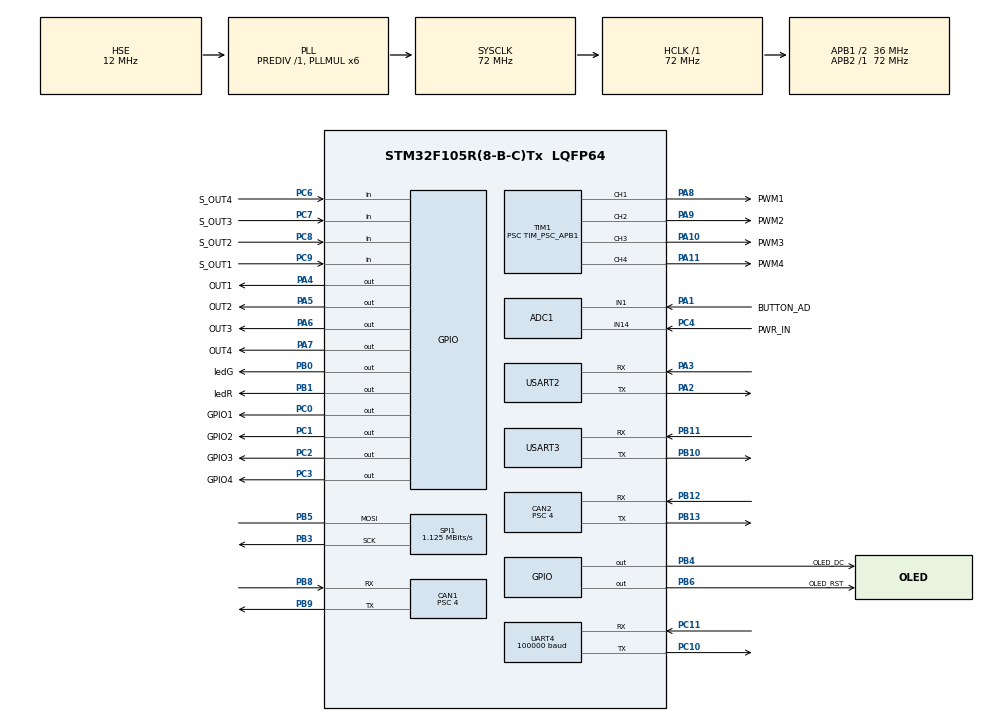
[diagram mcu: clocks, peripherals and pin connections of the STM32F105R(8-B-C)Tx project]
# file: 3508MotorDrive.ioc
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ADC1.Channel-12\#ChannelRegularConversion=ADC_CHANNEL_14
ADC1.ContinuousConvMode=ENABLE
ADC1.EnableAnalogWatchDog=false
ADC1.InjNumberOfConversion=0
ADC1.NbrOfConversion=1
ADC1.NbrOfConversionFlag=1
ADC1.Rank-12\#ChannelRegularConversion=1
ADC1.SamplingTime-12\#ChannelRegularConversion=ADC_SAMPLETIME_1CYCLE_5
ADC1.master=1
CAN1.ABOM=ENABLE
CAN1.BS1=CAN_BS1_3TQ
CAN1.BS2=CAN_BS2_5TQ
CAN1.CalculateTimeBit=999.99
CAN1.CalculateTimeQuantum=111.11111111111111
CAN1.Prescaler=4
CAN2.ABOM=ENABLE
CAN2.BS1=CAN_BS1_3TQ
CAN2.BS2=CAN_BS2_5TQ
CAN2.CalculateTimeBit=999.99
CAN2.CalculateTimeQuantum=111.11111111111111
CAN2.Prescaler=4
Dma.ADC1.5.Direction=DMA_PERIPH_TO_MEMORY
Dma.ADC1.5.Instance=DMA1_Channel1
Dma.ADC1.5.MemDataAlignment=DMA_MDATAALIGN_HALFWORD
Dma.ADC1.5.MemInc=DMA_MINC_ENABLE
Dma.ADC1.5.Mode=DMA_NORMAL
Dma.ADC1.5.PeriphDataAlignment=DMA_PDATAALIGN_HALFWORD
Dma.ADC1.5.PeriphInc=DMA_PINC_DISABLE
Dma.ADC1.5.Priority=DMA_PRIORITY_LOW
Dma.Request0=UART4_RX
Dma.Request1=USART2_RX
Dma.Request2=USART2_TX
Dma.Request3=USART3_RX
Dma.Request4=USART3_TX
Dma.Request5=ADC1
Dma.UART4_RX.0.Direction=DMA_PERIPH_TO_MEMORY
Dma.UART4_RX.0.Instance=DMA2_Channel3
Dma.UART4_RX.0.MemDataAlignment=DMA_MDATAALIGN_BYTE
Dma.UART4_RX.0.MemInc=DMA_MINC_ENABLE
Dma.UART4_RX.0.Mode=DMA_NORMAL
Dma.UART4_RX.0.PeriphDataAlignment=DMA_PDATAALIGN_BYTE
Dma.UART4_RX.0.PeriphInc=DMA_PINC_DISABLE
Dma.UART4_RX.0.Priority=DMA_PRIORITY_LOW
Dma.USART2_RX.1.Direction=DMA_PERIPH_TO_MEMORY
Dma.USART2_RX.1.Instance=DMA1_Channel6
Dma.USART2_RX.1.MemDataAlignment=DMA_MDATAALIGN_BYTE
Dma.USART2_RX.1.MemInc=DMA_MINC_ENABLE
Dma.USART2_RX.1.Mode=DMA_NORMAL
Dma.USART2_RX.1.PeriphDataAlignment=DMA_PDATAALIGN_BYTE
Dma.USART2_RX.1.PeriphInc=DMA_PINC_DISABLE
Dma.USART2_RX.1.Priority=DMA_PRIORITY_LOW
Dma.USART2_TX.2.Direction=DMA_MEMORY_TO_PERIPH
Dma.USART2_TX.2.Instance=DMA1_Channel7
Dma.USART2_TX.2.MemDataAlignment=DMA_MDATAALIGN_BYTE
Dma.USART2_TX.2.MemInc=DMA_MINC_ENABLE
Dma.USART2_TX.2.Mode=DMA_NORMAL
Dma.USART2_TX.2.PeriphDataAlignment=DMA_PDATAALIGN_BYTE
Dma.USART2_TX.2.PeriphInc=DMA_PINC_DISABLE
Dma.USART2_TX.2.Priority=DMA_PRIORITY_LOW
Dma.USART3_RX.3.Direction=DMA_PERIPH_TO_MEMORY
Dma.USART3_RX.3.Instance=DMA1_Channel3
Dma.USART3_RX.3.MemDataAlignment=DMA_MDATAALIGN_BYTE
Dma.USART3_RX.3.MemInc=DMA_MINC_ENABLE
Dma.USART3_RX.3.Mode=DMA_NORMAL
Dma.USART3_RX.3.PeriphDataAlignment=DMA_PDATAALIGN_BYTE
Dma.USART3_RX.3.PeriphInc=DMA_PINC_DISABLE
Dma.USART3_RX.3.Priority=DMA_PRIORITY_LOW
Dma.USART3_TX.4.Direction=DMA_MEMORY_TO_PERIPH
Dma.USART3_TX.4.Instance=DMA1_Channel2
Dma.USART3_TX.4.MemDataAlignment=DMA_MDATAALIGN_BYTE
Dma.USART3_TX.4.MemInc=DMA_MINC_ENABLE
Dma.USART3_TX.4.Mode=DMA_NORMAL
Dma.USART3_TX.4.PeriphDataAlignment=DMA_PDATAALIGN_BYTE
Dma.USART3_TX.4.PeriphInc=DMA_PINC_DISABLE
Dma.USART3_TX.4.Priority=DMA_PRIORITY_LOW
Mcu.Family=STM32F1
Mcu.Name=STM32F105R(8-B-C)Tx
Mcu.Package=LQFP64
Mcu.UserConstants=PWM_FREQUENCE,50;PWM_RESOLUTION,10000;APB1_TIMER_CLOCKS,36000000;PWM_DEFAULT_DUTY,5000;APB2_TIMER_CLOCKS,72000000;TIM_PSC_APB1,((APB1_TIMER_CLOCKS/PWM_FREQUENCE)/PWM_RESOLUTION -1);TIM_PSC_APB2,((APB2_TIMER_CLOCKS/PWM_FREQUENCE)/PWM_RESOLUTION -1)
NVIC.ADC1_2_IRQn=true\:0\:0\:false\:false\:true\:true\:true
NVIC.CAN1_RX0_IRQn=true\:0\:0\:false\:false\:true\:true\:true
NVIC.CAN1_TX_IRQn=true\:0\:0\:false\:false\:true\:true\:true
NVIC.CAN2_RX0_IRQn=true\:0\:0\:false\:false\:true\:true\:true
NVIC.CAN2_TX_IRQn=true\:0\:0\:false\:false\:true\:true\:true
NVIC.DMA1_Channel1_IRQn=true\:0\:0\:false\:false\:true\:false\:true
NVIC.DMA1_Channel2_IRQn=true\:0\:0\:false\:false\:true\:false\:true
NVIC.DMA1_Channel3_IRQn=true\:0\:0\:false\:false\:true\:false\:true
NVIC.DMA1_Channel6_IRQn=true\:0\:0\:false\:false\:true\:false\:true
NVIC.DMA1_Channel7_IRQn=true\:0\:0\:false\:false\:true\:false\:true
NVIC.DMA2_Channel3_IRQn=true\:0\:0\:false\:false\:true\:false\:true
NVIC.PriorityGroup=NVIC_PRIORITYGROUP_4
NVIC.UART4_IRQn=true\:0\:0\:false\:false\:true\:true\:true
NVIC.USART2_IRQn=true\:0\:0\:false\:false\:true\:true\:true
NVIC.USART3_IRQn=true\:0\:0\:false\:false\:true\:true\:true
PA1.GPIO_Label=BUTTON_AD
PA1.Signal=ADCx_IN1
PA10.GPIO_Label=PWM3
PA10.GPIO_Speed=GPIO_SPEED_FREQ_HIGH
PA10.Signal=S_TIM1_CH3
PA11.GPIO_Label=PWM4
PA11.GPIO_Speed=GPIO_SPEED_FREQ_HIGH
PA11.Signal=S_TIM1_CH4
PA13.Mode=Serial_Wire
PA13.Signal=SYS_JTMS-SWDIO
PA14.Mode=Serial_Wire
PA14.Signal=SYS_JTCK-SWCLK
PA2.Mode=Asynchronous
PA2.Signal=USART2_TX
PA3.Mode=Asynchronous
PA3.Signal=USART2_RX
PA4.GPIO_Label=OUT1
PA4.GPIO_Speed=GPIO_SPEED_FREQ_LOW
PA4.Signal=GPIO_Output
PA5.GPIO_Label=OUT2
PA5.GPIO_Speed=GPIO_SPEED_FREQ_LOW
PA5.Signal=GPIO_Output
PA6.GPIO_Label=OUT3
PA6.GPIO_Speed=GPIO_SPEED_FREQ_LOW
PA6.Signal=GPIO_Output
PA7.GPIO_Label=OUT4
PA7.GPIO_Speed=GPIO_SPEED_FREQ_LOW
PA7.Signal=GPIO_Output
PA8.GPIO_Label=PWM1
PA8.GPIO_Speed=GPIO_SPEED_FREQ_HIGH
PA8.Signal=S_TIM1_CH1
PA9.GPIO_Label=PWM2
PA9.GPIO_Speed=GPIO_SPEED_FREQ_HIGH
PA9.Signal=S_TIM1_CH2
PB0.GPIO_Label=ledG
PB0.GPIO_Speed=GPIO_SPEED_FREQ_LOW
PB0.Signal=GPIO_Output
PB1.GPIO_Label=ledR
PB1.GPIO_Speed=GPIO_SPEED_FREQ_LOW
PB1.Signal=GPIO_Output
PB10.Mode=Asynchronous
PB10.Signal=USART3_TX
PB11.Mode=Asynchronous
PB11.Signal=USART3_RX
PB12.Mode=Slave
PB12.Signal=CAN2_RX
PB13.Mode=Slave
PB13.Signal=CAN2_TX
PB3.Mode=Simplex_Bidirectional_Master
PB3.Signal=SPI1_SCK
PB4.GPIO_Label=OLED_DC
PB4.Signal=GPIO_Output
PB5.Mode=Simplex_Bidirectional_Master
PB5.Signal=SPI1_MOSI
PB6.GPIO_Label=OLED_RST
PB6.GPIO_Speed=GPIO_SPEED_FREQ_HIGH
PB6.Signal=GPIO_Output
PB8.Mode=Master
PB8.Signal=CAN1_RX
PB9.Mode=Master
PB9.Signal=CAN1_TX
PC0.GPIO_Label=GPIO1
PC0.GPIO_Speed=GPIO_SPEED_FREQ_HIGH
PC0.Signal=GPIO_Output
PC1.GPIO_Label=GPIO2
PC1.GPIO_Speed=GPIO_SPEED_FREQ_HIGH
PC1.Signal=GPIO_Output
PC10.Mode=Asynchronous
PC10.Signal=UART4_TX
PC11.Mode=Asynchronous
PC11.Signal=UART4_RX
PC2.GPIO_Label=GPIO3
PC2.GPIO_Speed=GPIO_SPEED_FREQ_HIGH
PC2.Signal=GPIO_Output
PC3.GPIO_Label=GPIO4
PC3.GPIO_Speed=GPIO_SPEED_FREQ_HIGH
PC3.Signal=GPIO_Output
PC4.GPIO_Label=PWR_IN
PC4.Signal=ADCx_IN14
PC6.GPIO_Label=S_OUT4
PC6.Signal=GPIO_Input
PC7.GPIO_Label=S_OUT3
PC7.Signal=GPIO_Input
PC8.GPIO_Label=S_OUT2
PC8.Signal=GPIO_Input
PC9.GPIO_Label=S_OUT1
PC9.Signal=GPIO_Input
PD0-OSC_IN.Mode=HSE-External-Oscillator
PD0-OSC_IN.Signal=RCC_OSC_IN
PD1-OSC_OUT.Mode=HSE-External-Oscillator
PD1-OSC_OUT.Signal=RCC_OSC_OUT
ProjectManager.HeapSize=0x200
ProjectManager.StackSize=0x400
ProjectManager.TargetToolchain=MDK-ARM V5
RCC.ADCPresc=RCC_ADCPCLK2_DIV6
RCC.AHBFreq_Value=72000000
RCC.APB1CLKDivider=RCC_HCLK_DIV2
RCC.APB1Freq_Value=36000000
RCC.APB1TimFreq_Value=72000000
RCC.APB2Freq_Value=72000000
RCC.APB2TimFreq_Value=72000000
RCC.HCLKFreq_Value=72000000
RCC.HSE_VALUE=12000000
RCC.PLLMUL=RCC_PLL_MUL6
RCC.PLLSourceVirtual=RCC_PLLSOURCE_HSE
RCC.SYSCLKFreq_VALUE=72000000
RCC.SYSCLKSource=RCC_SYSCLKSOURCE_PLLCLK
RCC.USBFreq_Value=48000000
SH.ADCx_IN1.0=ADC1_IN1,IN1
SH.ADCx_IN14.0=ADC1_IN14,IN14
SH.S_TIM1_CH1.0=TIM1_CH1,PWM Generation1 CH1
SH.S_TIM1_CH2.0=TIM1_CH2,PWM Generation2 CH2
SH.S_TIM1_CH3.0=TIM1_CH3,PWM Generation3 CH3
SH.S_TIM1_CH4.0=TIM1_CH4,PWM Generation4 CH4
SPI1.BaudRatePrescaler=SPI_BAUDRATEPRESCALER_64
SPI1.CalculateBaudRate=1.125 MBits/s
SPI1.Direction=SPI_DIRECTION_1LINE
SPI1.Mode=SPI_MODE_MASTER
SPI1.VirtualType=VM_MASTER
TIM1.Channel-PWM\ Generation1\ CH1=TIM_CHANNEL_1
TIM1.Channel-PWM\ Generation2\ CH2=TIM_CHANNEL_2
TIM1.Channel-PWM\ Generation3\ CH3=TIM_CHANNEL_3
TIM1.Channel-PWM\ Generation4\ CH4=TIM_CHANNEL_4
TIM1.Period=PWM_RESOLUTION-1
TIM1.Prescaler=TIM_PSC_APB1
TIM1.Pulse-PWM\ Generation1\ CH1=PWM_DEFAULT_DUTY
TIM1.Pulse-PWM\ Generation2\ CH2=PWM_DEFAULT_DUTY
TIM1.Pulse-PWM\ Generation3\ CH3=PWM_DEFAULT_DUTY
TIM1.Pulse-PWM\ Generation4\ CH4=PWM_DEFAULT_DUTY
UART4.BaudRate=100000
UART4.Parity=PARITY_EVEN
UART4.VirtualMode=Asynchronous
USART2.VirtualMode=VM_ASYNC
USART3.VirtualMode=VM_ASYNC
board=custom

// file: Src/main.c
/* USER CODE BEGIN Header */
/**
  ******************************************************************************
  * @file           : main.c
  * @brief          : Main program body
  * @作者           : 谢锋 (XieFeng)
  * @联系方式       : xiefeng3321@163.com
  * @Date           : 2019.06
  ******************************************************************************
  ** This notice applies to any and all portions of this file
  * that are not between comment pairs USER CODE BEGIN and
  * USER CODE END. Other portions of this file, whether
  * inserted by the user or by software development tools
  * are owned by their respective copyright owners.
  *
  * COPYRIGHT(c) 2019 STMicroelectronics
  *
  * Redistribution and use in source and binary forms, with or without modification,
  * are permitted provided that the following conditions are met:
  *   1. Redistributions of source code must retain the above copyright notice,
  *      this list of conditions and the following disclaimer.
  *   2. Redistributions in binary form must reproduce the above copyright notice,
  *      this list of conditions and the following disclaimer in the documentation
  *      and/or other materials provided with the distribution.
  *   3. Neither the name of STMicroelectronics nor the names of its contributors
  *      may be used to endorse or promote products derived from this software
  *      without specific prior written permission.
  ******************************************************************************
  * @机器人大赛     : 全国大学生机器人大赛-ROBOTAC-2019
  * @控制芯片       : STM32F105R8T6
  * @开发板         : RM开发板B型
  * @车型           : 4WD
  * @遥控接收机通信 : SBUS/DBUS
  * @M3508电机驱动  : CAN2
  * @M2006电机驱动  : CAN1
  * @舵机驱动控制   : 定时器PWM输出PPM信号
  * @程序介绍       : 主程序在main的while大循环里
  * @库版本         : STM32Cube_FW_F1_V1.4.0
  */
/* USER CODE END Header */

#include "main.h"
#include "adc.h"
#include "can.h"
#include "dma.h"
#include "spi.h"
#include "tim.h"
#include "usart.h"
#include "gpio.h"

/* USER CODE BEGIN Includes */
#include "pid.h"
#include "bsp_can.h"
#include "mytype.h"
#include "bsp_uart.h"
#include "oled.h"

/* USER CODE END Includes */

/* USER CODE BEGIN PTD */
#define ABS(x)	( (x>0) ? (x) : (-x) )      //求绝对值

/* USER CODE END PTD */

/* USER CODE BEGIN PV */
extern rc_info_t rc;                        //遥控器各通道得值
char buf[200];                              //串口发送字符串缓存区
extern uint16_t Sbus_PWM[16];	            //拟合后的PWM脉宽

int16_t set_3508_speed[8] = {0};            //8个电机速度闭环的速度数组
int64_t set_3508_pos = 0;                   //2006转盘电机位置闭环的位置值
int64_t pos0 = 0, pos = 0;                  //2006转盘电机初始化位置量

int16_t key_flage = 0;
int16_t current_Motor[8] = {0};             //8个电机发送电流值数组
uint32_t power_val = 0;                     //电源电压检测 ADC
int16_t num1 = 0, num2 = 0, num3 =0;        //计数

int64_t qiut_num = 0;                       //球筒计数
int16_t t1 = 0, t2 = 0, t3 = 0;             //时间计数

/* USER CODE END PV */

void SystemClock_Config(void);

int main(void)
{

  /* MCU Configuration--------------------------------------------------------*/

  /* Reset of all peripherals, Initializes the Flash interface and the Systick. */
  HAL_Init();

  /* Configure the system clock */
  SystemClock_Config();

  /* Initialize all configured peripherals */
  MX_GPIO_Init();
  MX_DMA_Init();
  MX_ADC1_Init();
  MX_CAN1_Init();
  MX_CAN2_Init();
  MX_TIM1_Init();
  MX_UART4_Init();
  MX_USART2_UART_Init();
  MX_USART3_UART_Init();
  MX_SPI1_Init();
  /* USER CODE BEGIN 2 */
    dbus_uart_init();                                           // DBUS 初始化
    oled_init();                                                //oled 初始化

    oled_Robotac_LOGO();                                        //Robotac LOGO 显示
    HAL_Delay(500);
    oled_JXJD_LOGO();                                           //JXJD LOGO 显示
    HAL_Delay(500);
    oled_JXJD_WZ();                                             //江西机电 文字显示

    HAL_GPIO_WritePin(ledR_GPIO_Port,ledR_Pin,GPIO_PIN_SET);    //GPIO输出高电平，LED熄灭
    HAL_GPIO_WritePin(ledG_GPIO_Port,ledG_Pin,GPIO_PIN_SET);    //GPIO输出高电平，LED熄灭

    HAL_TIM_PWM_Start(&htim1, TIM_CHANNEL_1);                   //打开TIM1_CH1的PWM
	HAL_TIM_PWM_Start(&htim1, TIM_CHANNEL_2);
	HAL_TIM_PWM_Start(&htim1, TIM_CHANNEL_3);
	HAL_TIM_PWM_Start(&htim1, TIM_CHANNEL_4);

    HAL_ADC_Start(&hadc1);                                      //开启ADC，//可实现0~3.3V电压转变对应0~4095数值
    HAL_ADC_PollForConversion(&hadc1,5);                        //ADC轮询转换，超时设置5ms

    my_can_filter_init_recv_all(&hcan1);                        //CAN1接收滤波
    my_can_filter_init_recv_all(&hcan2);                        //CAN2接收滤波
	HAL_CAN_Receive_IT(&hcan1, CAN_FIFO0);                      //CAN1 接收中断 CAN_FIFO0
	HAL_CAN_Receive_IT(&hcan2, CAN_FIFO0);                      //CAN2 接收中断 CAN_FIFO0

    /* 4WD M3508电机 速度环 PID初始化 */
    for(int i=0; i<4; i++)
	{
		PID_struct_init(&pid_3508_spd[i], POSITION_PID, 8000, 8000, 7.5f, 0.1f, 0.00f);     //7.5f, 0.1f, 0.000f
        /* pid_spd[i], 位置模式PID, 输出限幅8000, 积分上限8000， kp7.5f, ki0.1f, kd0.0f */
	}

    /* 炮车转盘 M2006 电机的速度闭环PID初始化 */
    PID_struct_init(&pid_3508_pos, POSITION_PID, 5000, 5000, 2.1f, 0.0f,15.0f);             //7.6f,0.0f,30.0f  //8.0f, 0.025f, 0.000f

    /* 2速胜机构摩擦轮电机 M2006 速度环 PID初始化 */
    for(int i=6; i<8; i++)
	{
		PID_struct_init(&pid_3508_spd[i], POSITION_PID, 7000, 7000, 8.6f, 0.42f, 0.00f);    //8.0f, 0.025f, 0.000f
	}                                                                                       //输出限幅7000，输出电流7000mA

  /* USER CODE END 2 */
  /* Infinite loop */
  /* USER CODE BEGIN WHILE */
    HAL_GPIO_WritePin(ledR_GPIO_Port,ledR_Pin,GPIO_PIN_RESET);      //GPIO输出低电平，点亮LED
    HAL_GPIO_WritePin(ledG_GPIO_Port,ledG_Pin,GPIO_PIN_RESET);      //GPIO输出低电平，点亮LED

    for(int i=0;i<3;i++)
    {
        HAL_GPIO_TogglePin(GPIO1_GPIO_Port, GPIO1_Pin);             //启动提示音响2声，GPIO1 蜂鸣器
        HAL_Delay(200);
    }
    HAL_GPIO_WritePin(GPIO1_GPIO_Port,GPIO1_Pin,GPIO_PIN_RESET);    //GPIO1输出低电平，熄灭蜂鸣器

//    oled_clear(Pen_Clear);        //oled 清屏

//    oled_showCHN(0,1,0);          //江
//    oled_showCHN(0,2,1);          //西
//    oled_showCHN(0,3,2);          //机
//    oled_showCHN(0,4,3);          //电

//    oled_showCHN(1,5,10);         //炮
//    oled_showCHN(1,6,13);         //车

//    oled_refresh_gram();          //oled 刷新

    int8_t i = 0;
  while (1)
  {
        /************************************************ 底盘电机驱动 BEGIN ******************************************************/
        set_3508_speed[0] = 30000;
				for(int i=0; i<4; i++)
        {
            current_Motor[i] = pid_calc(&pid_3508_spd[i], moto_chassis[i].speed_rpm, set_3508_speed[i]);    //底盘4M3508电机 速度环PID
        }

//        current_Motor[4] = pid_calc(&pid_3508_pos, moto_structure[0].total_angle, set_3508_pos);            //炮车转盘M2006电机 位置环PID

        current_Motor[5] = pid_calc(&pid_3508_spd[5], moto_structure[1].speed_rpm, set_3508_speed[5]);      //速胜摩擦轮电机1 速度环PID
        current_Motor[6] = pid_calc(&pid_3508_spd[6], moto_structure[2].speed_rpm, set_3508_speed[6]);      //速胜摩擦轮电机2 速度环PID

        set_moto_current(&hcan2, current_Motor[0], current_Motor[1], current_Motor[2], current_Motor[3]);   //CAN2发送电流值给1~4电调，4底盘电机
        set_moto_current(&hcan1, current_Motor[4], current_Motor[5], current_Motor[6], current_Motor[7]);   //CAN1发送电流值给5~8电调，转盘和速胜机构电机

        set_3508_speed[0] = set_3508_speed[1] = (rc.ch1 * 5) + (rc.ch2 * 5);
        set_3508_speed[2] = set_3508_speed[3] = (rc.ch1 * 5) - (rc.ch2 * 5);                                //遥控 CH1&CH2 混控算法控制底盘运动

        if((ABS(rc.ch1)<28) & (ABS(rc.ch2)<28))                                                             //设置遥控通道死区值
        {
            set_3508_speed[0] = set_3508_speed[1] = set_3508_speed[2] = set_3508_speed[3] = 0;
        }

        /**********************************************  底盘电机驱动 END   ********************************************************/
        /*****************************************  炮车转盘M2006电机驱动 BEGIN ****************************************************/

        /*****************************************  炮车转盘M2006电机驱动 END   ****************************************************/
        /********************************************  速胜机构电机驱动 BEGIN ******************************************************/

        /***********************************************  速胜机构电机驱动   END    **************************************************/
        /**************************************************  炮车舵机部分 DEGIN  *****************************************************/
        //PWM与遥控通道关联，设置占空比 产生PPM信号驱动舵机
        __HAL_TIM_SetCompare(&htim1, TIM_CHANNEL_1, Sbus_PWM[3]);	//PWM1与遥控CH4关联，炮车（拨弹 360度舵机）
        __HAL_TIM_SetCompare(&htim1, TIM_CHANNEL_2, Sbus_PWM[4]);	//PWM2与遥控CH5关联，炮车（2个发弹摩擦轮）
        __HAL_TIM_SetCompare(&htim1, TIM_CHANNEL_3, Sbus_PWM[5]);	//PWM3与遥控CH6关联，炮车（捕网 180度舵机）
        __HAL_TIM_SetCompare(&htim1, TIM_CHANNEL_4, Sbus_PWM[6]);	//PWM4与遥控CH7关联，炮车 (球筒舵机)/(速胜机构)

        /**************************************************  炮车舵机部分  END   *****************************************************/
        /******************************************** 电压警报、串口调试、LED闪烁 BEGIN ******************************************************/
        num3++;
        if(num3 > 180)                                                              //时间计数大于200*2ms = 400ms，led闪烁
        {
            HAL_GPIO_TogglePin(ledG_GPIO_Port, ledG_Pin);
            power_val = HAL_ADC_GetValue(&hadc1);                                   //返回最近一次ADC1规则组的转换结果//获取电源电压的模拟值
            if(power_val < 1200)                                                    // 电源电压小于11.1V，（模拟值约为1200）则蜂鸣器报警
            {
                HAL_GPIO_TogglePin(GPIO1_GPIO_Port, GPIO1_Pin);                     //蜂鸣器报警
                HAL_GPIO_TogglePin(ledR_GPIO_Port,ledR_Pin);                        //红色LED闪烁
            }
            else
            {
                HAL_GPIO_WritePin(GPIO1_GPIO_Port,GPIO1_Pin,GPIO_PIN_RESET);        //GPIO输出低电平，熄灭蜂鸣器
                HAL_GPIO_WritePin(ledR_GPIO_Port,ledR_Pin,GPIO_PIN_RESET);          //GPIO输出低电平，默认点亮LED
            }
            num3 = 0;
            sprintf(buf, "CH1: %4d  CH2: %4d  CH3: %4d  CH4: %4d  CH5: %4d CH6: %4d CH7: %4d PWR: %4d \n",
                    rc.ch1, rc.ch2, rc.ch3, rc.ch4,  rc.ch5, rc.ch6, rc.ch7, power_val);                    //按格式把数字转换为串
            HAL_UART_Transmit(&huart2, (uint8_t *)buf, (COUNTOF(buf) - 1), 10);     //串口2打印接收机通道值，超时 10ms

        }
        /***************************************************** 电压警报、串口调试、LED闪烁 END *************************************************/

        HAL_Delay(2);   //延时2ms

    /* USER CODE END WHILE */

  }
}

void SystemClock_Config(void)
{
  RCC_OscInitTypeDef RCC_OscInitStruct = {0};
  RCC_ClkInitTypeDef RCC_ClkInitStruct = {0};
  RCC_PeriphCLKInitTypeDef PeriphClkInit = {0};

  /**Initializes the CPU, AHB and APB busses clocks
  */
  RCC_OscInitStruct.OscillatorType = RCC_OSCILLATORTYPE_HSE;
  RCC_OscInitStruct.HSEState = RCC_HSE_ON;
  RCC_OscInitStruct.HSEPredivValue = RCC_HSE_PREDIV_DIV1;
  RCC_OscInitStruct.HSIState = RCC_HSI_ON;
  RCC_OscInitStruct.Prediv1Source = RCC_PREDIV1_SOURCE_HSE;
  RCC_OscInitStruct.PLL.PLLState = RCC_PLL_ON;
  RCC_OscInitStruct.PLL.PLLSource = RCC_PLLSOURCE_HSE;
  RCC_OscInitStruct.PLL.PLLMUL = RCC_PLL_MUL6;
  RCC_OscInitStruct.PLL2.PLL2State = RCC_PLL_NONE;
  if (HAL_RCC_OscConfig(&RCC_OscInitStruct) != HAL_OK)
  {
    Error_Handler();
  }
  /**Initializes the CPU, AHB and APB busses clocks
  */
  RCC_ClkInitStruct.ClockType = RCC_CLOCKTYPE_HCLK|RCC_CLOCKTYPE_SYSCLK
                              |RCC_CLOCKTYPE_PCLK1|RCC_CLOCKTYPE_PCLK2;
  RCC_ClkInitStruct.SYSCLKSource = RCC_SYSCLKSOURCE_PLLCLK;
  RCC_ClkInitStruct.AHBCLKDivider = RCC_SYSCLK_DIV1;
  RCC_ClkInitStruct.APB1CLKDivider = RCC_HCLK_DIV2;
  RCC_ClkInitStruct.APB2CLKDivider = RCC_HCLK_DIV1;

  if (HAL_RCC_ClockConfig(&RCC_ClkInitStruct, FLASH_LATENCY_2) != HAL_OK)
  {
    Error_Handler();
  }
  PeriphClkInit.PeriphClockSelection = RCC_PERIPHCLK_ADC;
  PeriphClkInit.AdcClockSelection = RCC_ADCPCLK2_DIV6;
  if (HAL_RCCEx_PeriphCLKConfig(&PeriphClkInit) != HAL_OK)
  {
    Error_Handler();
  }
  /**Configure the Systick interrupt time
  */
  __HAL_RCC_PLLI2S_ENABLE();
}

/* USER CODE BEGIN 4 */

///**
//  * 函数功能: AD转换结束回调函数
//  * 输入参数: hadc：AD设备类型句柄
//  * 返 回 值: 无
//  * 说    明: 无
//  */
//void HAL_ADC_ConvCpltCallback(ADC_HandleTypeDef* hadc)
//{
//  power_val = HAL_ADC_GetValue(&hadc1);
//}

/* USER CODE END 4 */

void Error_Handler(void)
{
}

/************************ (C) COPYRIGHT STMicroelectronics *****END OF FILE****/
